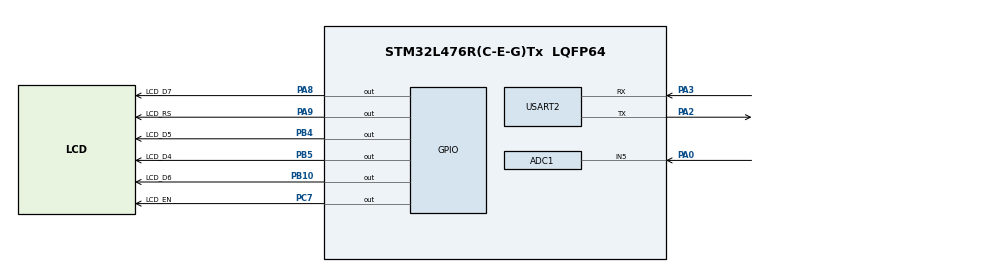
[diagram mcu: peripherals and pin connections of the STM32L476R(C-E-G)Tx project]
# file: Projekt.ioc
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ADC1.Channel-0\#ChannelRegularConversion=ADC_CHANNEL_5
ADC1.NbrOfConversionFlag=1
ADC1.OffsetNumber-0\#ChannelRegularConversion=ADC_OFFSET_NONE
ADC1.Rank-0\#ChannelRegularConversion=1
ADC1.SamplingTime-0\#ChannelRegularConversion=ADC_SAMPLETIME_2CYCLES_5
ADC1.master=1
Mcu.Family=STM32L4
Mcu.Name=STM32L476R(C-E-G)Tx
Mcu.Package=LQFP64
NVIC.PriorityGroup=NVIC_PRIORITYGROUP_4
PA0.Signal=ADCx_IN5
PA2.Mode=Asynchronous
PA2.Signal=USART2_TX
PA3.Mode=Asynchronous
PA3.Signal=USART2_RX
PA8.GPIO_Label=LCD_D7
PA8.Signal=GPIO_Output
PA9.GPIO_Label=LCD_RS
PA9.Signal=GPIO_Output
PB10.GPIO_Label=LCD_D6
PB10.Signal=GPIO_Output
PB4\ (NJTRST).GPIO_Label=LCD_D5
PB4\ (NJTRST).Signal=GPIO_Output
PB5.GPIO_Label=LCD_D4
PB5.Signal=GPIO_Output
PC7.GPIO_Label=LCD_EN
PC7.Signal=GPIO_Output
ProjectManager.HeapSize=0x200
ProjectManager.StackSize=0x400
ProjectManager.TargetToolchain=STM32CubeIDE
RCC.ADCFreq_Value=32000000
RCC.HSE_VALUE=8000000
RCC.HSI_VALUE=16000000
RCC.LSE_VALUE=32768
RCC.MSI_VALUE=4000000
RCC.PLLSAI1N=16
RCC.USBFreq_Value=32000000
RCC.VCOOutputFreq_Value=32000000
SH.ADCx_IN5.0=ADC1_IN5,IN5-Single-Ended
USART2.VirtualMode-Asynchronous=VM_ASYNC
board=custom

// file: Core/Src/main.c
/* USER CODE BEGIN Header */
/**
  ******************************************************************************
  * @file           : main.c
  * @brief          : Main program body
  ******************************************************************************
  * @attention
  *
  * Copyright (c) 2023 STMicroelectronics.
  * All rights reserved.
  *
  * This software is licensed under terms that can be found in the LICENSE file
  * in the root directory of this software component.
  * If no LICENSE file comes with this software, it is provided AS-IS.
  *
  ******************************************************************************
  */
/* USER CODE END Header */
#include "main.h"

/* USER CODE BEGIN Includes */
#include "lcd.h"
#include "math.h"
#include <string.h>
#include <stdlib.h>
#include <stdio.h>
/* USER CODE END Includes */

ADC_HandleTypeDef hadc1;

UART_HandleTypeDef huart2;

void SystemClock_Config(void);
static void MX_GPIO_Init(void);
static void MX_ADC1_Init(void);
static void MX_USART2_UART_Init(void);

/* USER CODE BEGIN 0 */

int __io_putchar(int ch)
{
    if (ch == '\n') {
        uint8_t ch2 = '\r';
        HAL_UART_Transmit(&huart2, &ch2, 1, HAL_MAX_DELAY);
    }
    HAL_UART_Transmit(&huart2, (uint8_t*)&ch, 1, HAL_MAX_DELAY);
    return 1;
}

int __io_getchar(void) {
    uint8_t ch;
        HAL_UART_Receive(&huart2, &ch, 1, HAL_MAX_DELAY);
        if (ch == '\r\n') {
            HAL_UART_Receive(&huart2, &ch, 1, HAL_MAX_DELAY);
        }
        HAL_UART_Transmit(&huart2, &ch, 1, HAL_MAX_DELAY);
        return ch;
}

int _read( char *buffor, int buffor_size)
{
    int count = 0;
    char ch;
    while (1)
    {
        ch = __io_getchar();
        if (ch == '\r')
        {
            break;
        }
        buffor[count++] = ch;
    }
    buffor[count] = '\0';
    if(count >= buffor_size){
    	count =0;
    }
    return count;
}

uint8_t customChar[7][8] = {
		{		  0b00000,
				  0b00000,
				  0b00000,
				  0b00000,
				  0b00100,
				  0b00110,
				  0b10101,
				  0b01110},

		{		  0b00100,
				  0b00110,
				  0b10101,
				  0b01110,
				  0b00000,
				  0b00000,
				  0b00000,
				  0b00000},

		{		  0b00000,
				  0b00000,
				  0b00000,
				  0b00000,
				  0b00000,
				  0b01110,
				  0b01110,
				  0b00000},

		{		  0b00000,
				  0b01110,
				  0b01110,
				  0b00000,
				  0b00000,
				  0b00000,
				  0b00000,
				  0b00000},

		{		  0b00000,
				  0b01110,
				  0b01110,
				  0b00000,
				  0b00100,
				  0b00110,
				  0b10101,
				  0b01110},

		{		  0b00100,
				  0b00110,
				  0b10101,
				  0b01110,
				  0b00000,
				  0b01110,
				  0b01110,
				  0b00000},

		{		  0b00000,
				  0b01110,
				  0b01110,
				  0b00000,
				  0b00000,
				  0b01110,
				  0b01110,
				  0b00000},
};

void create_char(uint8_t start_location, uint8_t char_table[][8], uint8_t num_chars)
{
    for (uint8_t j = 0; j < num_chars; j++) {
        uint8_t location = start_location + j;
        lcd_cmd(0x40 | (location << 3));
        for (int i = 0; i < 8; i++)
        {
            lcd_char_cp(char_table[j][i]);
        }
    }
}

char lcdOut[16];
char char_table [5][17];
int position_y = 1;
int position_x = 1;
int line=1;
int counter = 0;
int notzero = 0;
int win = 0;
int pud = 0;
int winning_condition_counter=12;
int shoot_counter = 0;

void Print_in_lcd()
{
	if(position_y>=3){
			line=2;
		}else{
			line=1;
		}
			if(!notzero){
				lcd_clear();
			}
	    	if(position_y%2==0)
	    	{
	    		lcd_char(line,position_x,0x00);
	    	}
	    	else
	    	{
	        	lcd_char(line,position_x,0x01);
	    	}
			HAL_Delay(500);
}

void positioning(){
	if(position_y>=3){
		line=2;
	}else{
		line=1;
	}
	if(pud == 4){
		lcd_char(line,position_x,0x03);
	}else if(pud == 5){
		lcd_char(line,position_x,0x02);
	}else{
	lcd_print(line,position_x," ");
	}
	pud = 0;
}

int tab[4][16];
void init_tab(){
	for(int i=0 ; i<4 ; i++){
		for(int j=0 ; j<16 ; j++){
				tab[i][j]=0;
			}
	}
}

void printtab(){
    printf(" ");
    for(int i=0 ; i<16 ; i++){
        printf("%3d", i+1);
    }
    printf("\n");
    for(int i=0 ; i<4 ; i++){
        printf("%d", i+1);
        for(int j=0 ; j<16 ; j++){
                if(tab[i][j]==0 || tab[i][j]==1)
                {
                    printf("%3c", '-');
                }
                else if(tab[i][j]==2)
                {
                    printf("%3c", 'X');
                }
            }
        printf("\n");
    }
}

void menu(){
	printf("\r\n\r\n");
	printf("  ____       _      _____   _____   _       _____  \r\n");
	printf(" | __ )     / \    |_   _| |_   _| | |     | ____| \r\n");
	printf(" |  _ \    / _ \     | |     | |   | |     |  _|   \r\n");
	printf(" | |_) |  / ___ \    | |     | |   | |___  | |___  \r\n");
	printf(" |____/  /_/   \_\   |_|     |_|   |_____| |_____| \r\n\r\n");
	lcd_print(1, 6, "BattleShip");
	printf("Press SELECT on LCD to start the game\r\n\r\n");
}

int check(){
	HAL_ADC_Start(&hadc1);
	HAL_ADC_PollForConversion(&hadc1, HAL_MAX_DELAY);
	HAL_ADC_Stop(&hadc1);
	uint32_t val = HAL_ADC_GetValue(&hadc1);
	float volt = (float)val * 3.3 / (pow(2,12)-1);
	//Select
	if(volt > 2.2 && volt < 2.5){
		return 0;
	}else{
		return 1;
	}
}

int Keyboard()
{
	HAL_ADC_Start(&hadc1);
    HAL_ADC_PollForConversion(&hadc1, HAL_MAX_DELAY);
    HAL_ADC_Stop(&hadc1);
    uint32_t val = HAL_ADC_GetValue(&hadc1);
    float volt = (float)val * 3.3 / (pow(2,12)-1);
    if(tab[position_y][position_x-1] == 2 && position_y%2==1){
    	pud = 5;
    }else if(tab[position_y-2][position_x-1] == 2 && position_y%2==0){
    	pud = 4;
    }
    //Select
    if(volt > 2.2 && volt < 2.5){
    	return 3;
    }
    //Left
    else if(volt > 1.5 && volt < 1.9 && position_x>1 && tab[position_y-1][position_x-2] != 2){
    	if(notzero==1){
    		positioning();
    		--position_x;
    		if(tab[position_y-2][position_x-1] == 2 && position_y%2==0){
    			lcd_char(line,position_x,0x04);
    			pud = 4;
    			HAL_Delay(500);
    		}else if(tab[position_y][position_x-1] == 2 && position_y%2==1){
    			lcd_char(line,position_x,0x05);
    			pud = 5;
    			HAL_Delay(500);
    		}else{
    			Print_in_lcd();
    		}
    		counter++;
    		}else{
    			--position_x;
    			Print_in_lcd();
    		}
    }
    //Down
    else if(volt > 0.9 && volt < 1.3 && position_y<4 && tab[position_y][position_x-1] != 2){
    	if(notzero==1){
    		positioning();
        	++position_y;
        	if(tab[position_y][position_x-1] == 2 && position_y==3){
        		lcd_char(line+1,position_x,0x05);
        		pud = 5;
        		HAL_Delay(500);
        	}else{
        		Print_in_lcd();
        	}
        	counter++;
    	}else{
        	++position_y;
        	Print_in_lcd();
    	}

    }
    //Up
    else if(volt > 0.2 && volt < 0.6   && position_y>1 && tab[position_y-2][position_x-1] != 2){
    	if(notzero==1){
    		positioning();
        	--position_y;
        	if(tab[position_y-2][position_x-1] == 2 && position_y==2){
        		lcd_char(line-1,position_x,0x04);
        		pud = 4;
        		HAL_Delay(500);
        	}else{
        		Print_in_lcd();
        	}
        	counter++;
    	}else{
        	--position_y;
        	Print_in_lcd();
    	}
    }
    //Right
    else if(volt < 0.2  && position_x<16 && tab[position_y-1][position_x] != 2)
    {
    	if(notzero==1){
    		positioning();
    		++position_x;
    		if(tab[position_y-2][position_x-1] == 2 && position_y%2==0){
    			lcd_char(line,position_x,0x04);
    			pud = 5;
    			HAL_Delay(500);
    		}else if(tab[position_y][position_x-1] == 2 && position_y%2==1){
    			lcd_char(line,position_x,0x05);
    			pud = 5;
    			HAL_Delay(500);
    		}else{
    			Print_in_lcd();
    		}
    		counter++;
    		}else{
    			++position_x;
    			Print_in_lcd();
    		}
    }
    else{ return 0;}
	return 1;
}

void Starting_position()
{
	if(!notzero){
		lcd_char(line,position_x,0x01);
	}
	int Selected = Keyboard();
	while(Selected != 3)
	{
		Selected = Keyboard();
	}
	notzero=1;
}

char buffor[32];

int System_Interface(const char *command)
{
	if(strstr(command, "shoot") == command)
	{
		uint32_t y, x;
	    if (sscanf(command, "shoot %d %d", &y, &x) == 2)
	    {
	    	shoot_counter++;
			printf("Fire! on position %d x %d \n", y, x);
			if(y>4 || x>16)
			{
				printf("Outside the area !");
				return 0;
			}
			else if(tab[y-1][x-1] == 1)
			{
				for(int i = 1; i <= 2 ; i++)
				{
					for(int j = 1; j <= 7 ; j++)
					{
						lcd_clear();
						lcd_print(i,j,"Loss!");
						printf("Win! \n");
						win=1;
						HAL_Delay(500);
					}
				}
				lcd_clear();
				lcd_print(1,3,"GAME OVER !");
				printf("GAME OVER !\n");
			}
			else
			{
				if(x>position_x)
				{
					printf("The ship is on the left \n");
				}
				else if(x<position_x)
				{
					printf("The ship is on the right \n");
				}
				else
				{
					printf("Is in the same column \n");
				}

				if(y>=3)
				{
					line=2;
				}
				else
				{
					line=1;
				}
				if(y%2==0)
				{
					if(tab[y-2][x-1] == 2){
						lcd_char(line,x,0x06);
					}
					else if(tab[y-2][x-1] == 1){
						lcd_char(line,x,0x05);
					}
					else{
					lcd_char(line,x,0x02);
					}
				}
				else
				{
					if(tab[y][x-1] == 2){
						lcd_char(line,x,0x06);
					}
					else if(tab[y][x-1] == 1){
						lcd_char(line,x,0x04);
					}
					else{
						lcd_char(line,x,0x03);
					}

				}
				tab[y-1][x-1]=2;
				printtab();
				return 1;
			}
		}
	    else
	    {
	        printf("Wrong arguments !\n");
		    return 0;
	    }
	}
	else
	{
		printf("Wrong command !\n");
	    return 0;
	}
    printf("\n");
    return 0;
}

/* USER CODE END 0 */

int main(void)
{
  /* USER CODE BEGIN 1 */

	  init_tab();
  /* USER CODE END 1 */

  /* MCU Configuration--------------------------------------------------------*/

  /* Reset of all peripherals, Initializes the Flash interface and the Systick. */
  HAL_Init();

  /* Configure the system clock */
  SystemClock_Config();

  /* Initialize all configured peripherals */
  MX_GPIO_Init();
  MX_ADC1_Init();
  MX_USART2_UART_Init();
  /* USER CODE BEGIN 2 */
  lcd_init(_LCD_4BIT, _LCD_FONT_5x8, _LCD_2LINE);
  lcd_clear();
  //MENU
  menu();
  while (check()){
	  check();
  }
  HAL_Delay(500);
  lcd_clear();

  //Round 0
  printf("Round 0\r\n");
  printf("Player LCD place starting position of his ship\r\n");
  create_char(0,customChar,7);
  Starting_position();
  printf("Ship placed! Now you can use 'shoot x y' to destroy the ship.\r\n");
  tab[position_y-1][position_x-1]=1;
  printtab();
  HAL_Delay(500);

  /* USER CODE END 2 */

  /* Infinite loop */
  /* USER CODE BEGIN WHILE */
  int attempt = 1;
  int round = 1;

  while (1)
  {
	  //Round X
	  if (shoot_counter == winning_condition_counter)
	  {
			for(int i = 1; i <= 2 ; i++)
					{
						for(int j = 1; j <= 7 ; j++)
						{
							lcd_clear();
							lcd_print(i,j,"Loss!");
							printf("Win! \n");
							win=1;
							HAL_Delay(500);
						}
					}
			break;
	  }
		  while(attempt<4)
		  {
			  if(win)
			  {
				  break;
			  }
			  printf("Round  %d\r\n",round);
		  	  printf("Player UART guess where the ship is (3 tries)\r\n");
		  	  printf("Round %d Attempt %d\r\n",round,attempt);
		  	  printf("> ");
		  	  fflush(stdin);
		  	  fflush(stdout);
		  	  if ( _read(buffor, 32) > 0)
		  	  {
		  		attempt+=System_Interface(buffor);
		  	  }
		  }
		  if (!win)
		  {
			  tab[position_y-1][position_x-1]=0;
			  printf("Player LCD place new position of his ship\r\n");
			  Starting_position();
			  tab[position_y-1][position_x-1]=1;
			  attempt = 1;
			  round++;
			  counter=0;
		  }
    /* USER CODE END WHILE */

  }
}

void SystemClock_Config(void)
{
  RCC_OscInitTypeDef RCC_OscInitStruct = {0};
  RCC_ClkInitTypeDef RCC_ClkInitStruct = {0};

  /** Configure the main internal regulator output voltage
  */
  if (HAL_PWREx_ControlVoltageScaling(PWR_REGULATOR_VOLTAGE_SCALE1) != HAL_OK)
  {
    Error_Handler();
  }

  /** Initializes the RCC Oscillators according to the specified parameters
  * in the RCC_OscInitTypeDef structure.
  */
  RCC_OscInitStruct.OscillatorType = RCC_OSCILLATORTYPE_MSI;
  RCC_OscInitStruct.MSIState = RCC_MSI_ON;
  RCC_OscInitStruct.MSICalibrationValue = 0;
  RCC_OscInitStruct.MSIClockRange = RCC_MSIRANGE_6;
  RCC_OscInitStruct.PLL.PLLState = RCC_PLL_NONE;
  if (HAL_RCC_OscConfig(&RCC_OscInitStruct) != HAL_OK)
  {
    Error_Handler();
  }

  /** Initializes the CPU, AHB and APB buses clocks
  */
  RCC_ClkInitStruct.ClockType = RCC_CLOCKTYPE_HCLK|RCC_CLOCKTYPE_SYSCLK
                              |RCC_CLOCKTYPE_PCLK1|RCC_CLOCKTYPE_PCLK2;
  RCC_ClkInitStruct.SYSCLKSource = RCC_SYSCLKSOURCE_MSI;
  RCC_ClkInitStruct.AHBCLKDivider = RCC_SYSCLK_DIV1;
  RCC_ClkInitStruct.APB1CLKDivider = RCC_HCLK_DIV1;
  RCC_ClkInitStruct.APB2CLKDivider = RCC_HCLK_DIV1;

  if (HAL_RCC_ClockConfig(&RCC_ClkInitStruct, FLASH_LATENCY_0) != HAL_OK)
  {
    Error_Handler();
  }
}

static void MX_ADC1_Init(void)
{

  ADC_MultiModeTypeDef multimode = {0};
  ADC_ChannelConfTypeDef sConfig = {0};

  /** Common config
  */
  hadc1.Instance = ADC1;
  hadc1.Init.ClockPrescaler = ADC_CLOCK_ASYNC_DIV1;
  hadc1.Init.Resolution = ADC_RESOLUTION_12B;
  hadc1.Init.DataAlign = ADC_DATAALIGN_RIGHT;
  hadc1.Init.ScanConvMode = ADC_SCAN_DISABLE;
  hadc1.Init.EOCSelection = ADC_EOC_SINGLE_CONV;
  hadc1.Init.LowPowerAutoWait = DISABLE;
  hadc1.Init.ContinuousConvMode = DISABLE;
  hadc1.Init.NbrOfConversion = 1;
  hadc1.Init.DiscontinuousConvMode = DISABLE;
  hadc1.Init.ExternalTrigConv = ADC_SOFTWARE_START;
  hadc1.Init.ExternalTrigConvEdge = ADC_EXTERNALTRIGCONVEDGE_NONE;
  hadc1.Init.DMAContinuousRequests = DISABLE;
  hadc1.Init.Overrun = ADC_OVR_DATA_PRESERVED;
  hadc1.Init.OversamplingMode = DISABLE;
  if (HAL_ADC_Init(&hadc1) != HAL_OK)
  {
    Error_Handler();
  }

  /** Configure the ADC multi-mode
  */
  multimode.Mode = ADC_MODE_INDEPENDENT;
  if (HAL_ADCEx_MultiModeConfigChannel(&hadc1, &multimode) != HAL_OK)
  {
    Error_Handler();
  }

  /** Configure Regular Channel
  */
  sConfig.Channel = ADC_CHANNEL_5;
  sConfig.Rank = ADC_REGULAR_RANK_1;
  sConfig.SamplingTime = ADC_SAMPLETIME_2CYCLES_5;
  sConfig.SingleDiff = ADC_SINGLE_ENDED;
  sConfig.OffsetNumber = ADC_OFFSET_NONE;
  sConfig.Offset = 0;
  if (HAL_ADC_ConfigChannel(&hadc1, &sConfig) != HAL_OK)
  {
    Error_Handler();
  }

}

static void MX_USART2_UART_Init(void)
{

  huart2.Instance = USART2;
  huart2.Init.BaudRate = 115200;
  huart2.Init.WordLength = UART_WORDLENGTH_8B;
  huart2.Init.StopBits = UART_STOPBITS_1;
  huart2.Init.Parity = UART_PARITY_NONE;
  huart2.Init.Mode = UART_MODE_TX_RX;
  huart2.Init.HwFlowCtl = UART_HWCONTROL_NONE;
  huart2.Init.OverSampling = UART_OVERSAMPLING_16;
  huart2.Init.OneBitSampling = UART_ONE_BIT_SAMPLE_DISABLE;
  huart2.AdvancedInit.AdvFeatureInit = UART_ADVFEATURE_NO_INIT;
  if (HAL_UART_Init(&huart2) != HAL_OK)
  {
    Error_Handler();
  }

}

static void MX_GPIO_Init(void)
{
  GPIO_InitTypeDef GPIO_InitStruct = {0};

  /* GPIO Ports Clock Enable */
  __HAL_RCC_GPIOA_CLK_ENABLE();
  __HAL_RCC_GPIOB_CLK_ENABLE();
  __HAL_RCC_GPIOC_CLK_ENABLE();

  /*Configure GPIO pin Output Level */
  HAL_GPIO_WritePin(GPIOB, LCD_D6_Pin|LCD_D5_Pin|LCD_D4_Pin, GPIO_PIN_RESET);

  /*Configure GPIO pin Output Level */
  HAL_GPIO_WritePin(LCD_EN_GPIO_Port, LCD_EN_Pin, GPIO_PIN_RESET);

  /*Configure GPIO pin Output Level */
  HAL_GPIO_WritePin(GPIOA, LCD_D7_Pin|LCD_RS_Pin, GPIO_PIN_RESET);

  /*Configure GPIO pins : LCD_D6_Pin LCD_D5_Pin LCD_D4_Pin */
  GPIO_InitStruct.Pin = LCD_D6_Pin|LCD_D5_Pin|LCD_D4_Pin;
  GPIO_InitStruct.Mode = GPIO_MODE_OUTPUT_PP;
  GPIO_InitStruct.Pull = GPIO_NOPULL;
  GPIO_InitStruct.Speed = GPIO_SPEED_FREQ_LOW;
  HAL_GPIO_Init(GPIOB, &GPIO_InitStruct);

  /*Configure GPIO pin : LCD_EN_Pin */
  GPIO_InitStruct.Pin = LCD_EN_Pin;
  GPIO_InitStruct.Mode = GPIO_MODE_OUTPUT_PP;
  GPIO_InitStruct.Pull = GPIO_NOPULL;
  GPIO_InitStruct.Speed = GPIO_SPEED_FREQ_LOW;
  HAL_GPIO_Init(LCD_EN_GPIO_Port, &GPIO_InitStruct);

  /*Configure GPIO pins : LCD_D7_Pin LCD_RS_Pin */
  GPIO_InitStruct.Pin = LCD_D7_Pin|LCD_RS_Pin;
  GPIO_InitStruct.Mode = GPIO_MODE_OUTPUT_PP;
  GPIO_InitStruct.Pull = GPIO_NOPULL;
  GPIO_InitStruct.Speed = GPIO_SPEED_FREQ_LOW;
  HAL_GPIO_Init(GPIOA, &GPIO_InitStruct);

}

void Error_Handler(void)
{
  __disable_irq();
  while (1)
  {
  }
}
